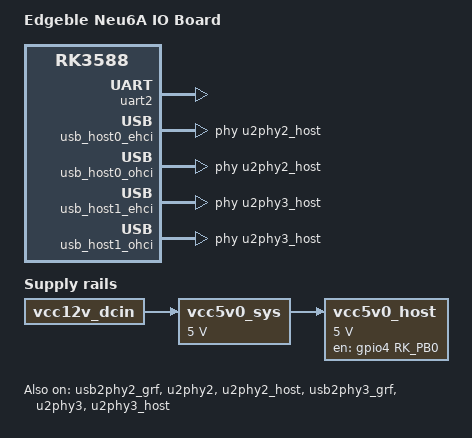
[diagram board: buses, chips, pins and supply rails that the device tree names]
// SPDX-License-Identifier: (GPL-2.0+ OR MIT)
/*
 * Copyright (c) 2022 Edgeble AI Technologies Pvt. Ltd.
 */

/dts-v1/;
#include "rk3588.dtsi"
#include "rk3588-edgeble-neu6a.dtsi"
#include <dt-bindings/pinctrl/rockchip.h>
#include <dt-bindings/input/input.h>
#include <dt-bindings/gpio/gpio.h>

/ {
	model = "Edgeble Neu6A IO Board";
	compatible = "edgeble,neural-compute-module-6a-io",
		     "edgeble,neural-compute-module-6a", "rockchip,rk3588";

	aliases {
		serial2 = &uart2;
	};

	chosen {
		stdout-path = "serial2:1500000n8";
	};

/*
	vcc12v_dcin: vcc12v-dcin {
		u-boot,dm-pre-reloc;
		compatible = "regulator-fixed";
		regulator-name = "vcc12v_dcin";
		regulator-always-on;
		regulator-boot-on;
		regulator-min-microvolt = <12000000>;
		regulator-max-microvolt = <12000000>;
	};
*/
	vcc5v0_sys: vcc5v0-sys {
		u-boot,dm-pre-reloc;
		compatible = "regulator-fixed";
		regulator-name = "vcc5v0_sys";
		regulator-always-on;
		regulator-boot-on;
		regulator-min-microvolt = <5000000>;
		regulator-max-microvolt = <5000000>;
		vin-supply = <&vcc12v_dcin>;
	};

	vcc5v0_host: vcc5v0-host-regulator {
		u-boot,dm-pre-reloc;
		compatible = "regulator-fixed";
		regulator-name = "vcc5v0_host";
		regulator-boot-on;
		regulator-always-on;
		regulator-min-microvolt = <5000000>;
		regulator-max-microvolt = <5000000>;
		enable-active-high;
		gpio = <&gpio4 RK_PB0 GPIO_ACTIVE_HIGH>;
		pinctrl-names = "default";
		pinctrl-0 = <&vcc5v0_host_en>;
		vin-supply = <&vcc5v0_sys>;
	};
};

&uart2 {
	pinctrl-0 = <&uart2m0_xfer>;
	status = "okay";
};


&pinctrl {
	usb {
		u-boot,dm-pre-reloc;
		vcc5v0_host_en: vcc5v0-host-en {
			u-boot,dm-pre-reloc;
			rockchip,pins = <4 RK_PB0 RK_FUNC_GPIO &pcfg_pull_none>;
		};
	};
};


// USB20_HOST0 goes to USB2 hub						- u2phy2_host ?
// USB20_HOST1 goes to USB3 port (top USB3 port?)	- ?

// not possible to enable:
// TYPEC0_USB20 goes to USB-C port ()				- u2phy0_otg ?
// TYPEC1_USB20 goes to USB3 port (bottom USB3 port?)


/* USB2 HUB */
&usb_host0_ehci {
	status = "okay";
	u-boot,dm-pre-reloc;
	clocks = <&cru HCLK_HOST0>, <&cru HCLK_HOST_ARB0>, <&u2phy2>;
	clock-names = "usbhost", "arbiter", "utmi";
	companion = <&usb_host0_ohci>;
	phys = <&u2phy2_host>;
	phy-names = "usb2-phy";
};

// TODO check me out
&usb_host0_ohci {
	status = "okay";
	u-boot,dm-pre-reloc;
	clocks = <&cru HCLK_HOST0>, <&cru HCLK_HOST_ARB0>, <&u2phy2>;
	clock-names = "usbhost", "arbiter", "utmi";
	phys = <&u2phy2_host>;
	phy-names = "usb2-phy";
};

// TODO check me out
&usb2phy2_grf {
	status = "okay";
	u-boot,dm-pre-reloc;
};

// TODO pre-alloc _first_ in all of these nodes
// TODO check me out
&u2phy2 {
	status = "okay";
	u-boot,dm-pre-reloc;

	// TODO is this needed ?
	resets = <&cru SRST_OTGPHY_U2_0>, <&cru SRST_P_USB2PHY_U2_0_GRF0>;
	reset-names = "phy", "apb";

	// TODO is this needed ?
	clock-output-names = "usb480m_phy2";
};

// TODO check me out
&u2phy2_host {
	status = "okay";
	// TODO is this needed ?
	phy-supply = <&vcc5v0_host>;
	u-boot,dm-pre-reloc;
};


/* USB20_HOST1 goes to top USB3 port */
&usb_host1_ehci {
	status = "okay";
	u-boot,dm-pre-reloc;
	clocks = <&cru HCLK_HOST1>, <&cru HCLK_HOST_ARB1>, <&u2phy3>;
	clock-names = "usbhost", "arbiter", "utmi";
	companion = <&usb_host1_ohci>;
	phys = <&u2phy3_host>;
	phy-names = "usb2-phy";
};

// TODO check me out
&usb_host1_ohci {
	status = "okay";
	u-boot,dm-pre-reloc;
	clocks = <&cru HCLK_HOST1>, <&cru HCLK_HOST_ARB1>, <&u2phy3>;
	clock-names = "usbhost", "arbiter", "utmi";
	phys = <&u2phy3_host>;
	phy-names = "usb2-phy";
};


// TODO check me out
&usb2phy3_grf {
	status = "okay";
	u-boot,dm-pre-reloc;
};

// TODO pre-alloc _first_ in all of these nodes
// TODO check me out
&u2phy3 {
	status = "okay";
	u-boot,dm-pre-reloc;

	resets = <&cru SRST_OTGPHY_U2_1>, <&cru SRST_P_USB2PHY_U2_1_GRF0>;
	reset-names = "phy", "apb";

	// TODO is this needed ?
	clock-output-names = "usb480m_phy3";
};

// TODO check me out
&u2phy3_host {
	status = "okay";
	// TODO is this needed ?
	phy-supply = <&vcc5v0_host>;
	u-boot,dm-pre-reloc;
};
